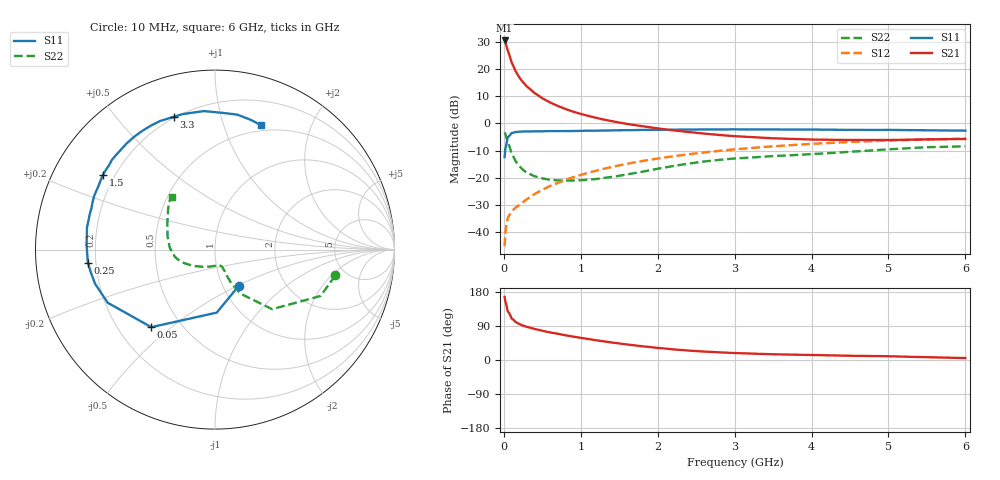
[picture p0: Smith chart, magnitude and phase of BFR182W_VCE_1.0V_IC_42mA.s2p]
! Infineon Technologies  Discrete & RF Semiconductors
! BFR182W
! VCE =  1.0 V,  IC =  42 mA
! Common Emitter S-Parameters:  Jan 2017
# GHz  S  MA  R  50
!  f  S11  S21  S12  S22
! GHz  MAG  ANG  MAG  ANG  MAG  ANG  MAG  ANG
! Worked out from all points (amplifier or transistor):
!   77 points, 10 MHz to 6 GHz, reference 50 ohm
!   highest |S21| = 30.5 dB at 10 MHz (marker M1)
!   |S21| within 3 dB of that: start of sweep to 43.77 MHz
!   unconditionally stable (mu >= 1): start of sweep to 15.23 MHz; 168.3 MHz to end of sweep
!   at 130 MHz: K = 0.87, MSG = 26.1 dB, |S12| = -31.5 dB
!   at 2.2 GHz: K = 1.19, MAG = 2.1 dB, |S12| = -12.1 dB
!   at 6 GHz: K = 1.13, MAG = -2.2 dB, |S12| = -5.6 dB
!   S11 on the Smith chart (normalised r, x): 10 MHz: 1.18, -0.51; 50 MHz: 0.34, -0.43; 250 MHz: 0.17, -0.05; 1.5 GHz: 0.16, +0.30; 3.3 GHz: 0.19, +0.72; 6 GHz: 0.44, +1.35
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0.01  0.2418 -57.0  33.33 166.5  0.0056 66.5  0.6858 -12.1
0.02  0.3512 -88.4  31.34 154.3  0.0098 59.9  0.6425 -23.7
0.05  0.5591 -129.4  22.08 128.7  0.0182 50.3  0.4596 -46.2
0.1  0.6669 -153.6  13.27 109.7  0.024 47.3  0.2841 -59.9
0.15  0.6948 -164.1  9.252 100.7  0.0284 49.1  0.2055 -64.3
0.2  0.7043 -170.0  7.046 95.0  0.0317 53.4  0.1649 -65.5
0.25  0.7121 -174.2  5.69 90.6  0.0361 55.9  0.1408 -65.7
0.3  0.7121 -177.4  4.757 87.4  0.0407 58.3  0.1244 -66.1
0.4  0.7163 177.7  3.604 81.8  0.0507 63.5  0.1072 -67.3
0.5  0.7184 173.7  2.899 77.2  0.0603 65.6  0.0981 -69.5
0.6  0.7239 170.3  2.434 72.9  0.0712 67.1  0.0924 -73.0
0.7  0.7234 167.4  2.097 69.2  0.0807 68.4  0.0901 -76.3
0.8  0.7253 164.3  1.845 65.3  0.0924 68.9  0.0895 -81.4
0.9  0.726 161.5  1.647 61.8  0.1032 68.7  0.0898 -86.4
1.1  0.7366 156.2  1.374 55.3  0.125 68.5  0.0933 -97.3
1.5  0.75 146.3  1.038 43.7  0.17 66.2  0.1097 -119.6
2.1  0.766 132.1  0.779 30.1  0.2382 60.2  0.1562 -145.7
3.1  0.7768 111.3  0.574 17.7  0.3436 47.7  0.2318 -172.9
3.3  0.7747 107.3  0.554 16.4  0.3619 45.0  0.2413 -177.9
4.1  0.7709 93.1  0.505 12.8  0.429 34.6  0.2787 161.7
5.1  0.759 79.4  0.5 9.4  0.4892 22.5  0.3413 140.0
6  0.7382 69.5  0.519 5.1  0.5268 12.8  0.3806 129.3
